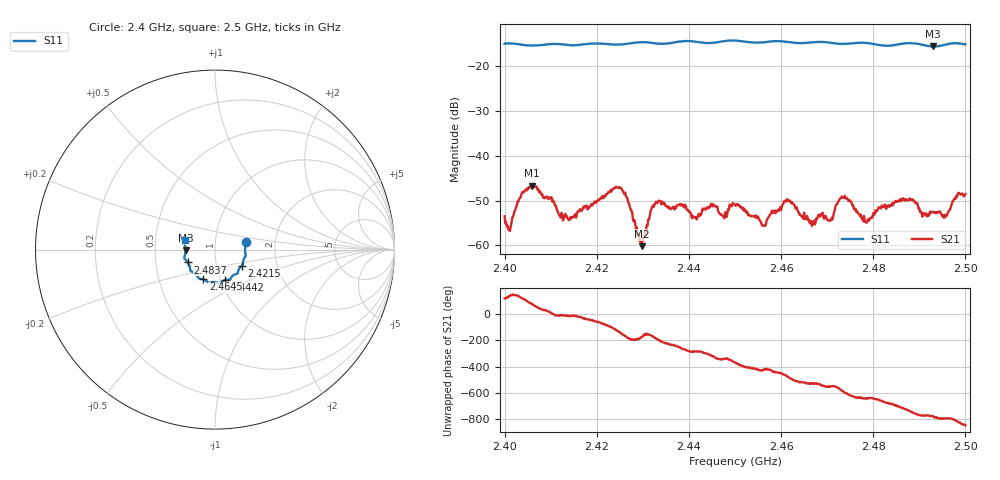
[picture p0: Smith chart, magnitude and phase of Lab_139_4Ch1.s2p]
# Hz S RI R 50
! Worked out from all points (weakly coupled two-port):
!   601 points, 2.4 GHz to 2.5 GHz, reference 50 ohm
!   highest |S21| = -46.70 dB at 2.406 GHz (marker M1); lowest = -60.2 dB at 2.4298 GHz (marker M2)
!   lowest |S11| = -15.7 dB at 2.493 GHz (marker M3), VSWR 1.39, Z = 35.9 - j0.217 ohm
!   |S11| at or under -10 dB: start of sweep to end of sweep
!   S12 and S22 are empty: the file has one direction only
!   S11 on the Smith chart (normalised r, x): 2.4 GHz: 1.41, +0.12; 2.4215 GHz: 1.33, -0.25; 2.4442 GHz: 1.05, -0.37; 2.4645 GHz: 0.83, -0.29; 2.4837 GHz: 0.73, -0.11; 2.5 GHz: 0.71, +0.07
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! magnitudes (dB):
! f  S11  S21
! 2.4 GHz  -15.1  -53.5
! 2.401 GHz  -15.0  -56.6
! 2.406 GHz  -15.5  -46.7
! 2.4123 GHz  -15.2  -52.7
! 2.4167 GHz  -15.3  -52.3
! 2.4215 GHz  -15.1  -49.4
! 2.4257 GHz  -15.2  -47.9
! 2.4298 GHz  -14.8  -60.2
! 2.4333 GHz  -15.1  -50.2
! 2.4442 GHz  -15.0  -51.5
! 2.45 GHz  -14.4  -50.9
! 2.4562 GHz  -14.8  -55.6
! 2.4612 GHz  -14.7  -50.3
! 2.4645 GHz  -15.0  -53.6
! 2.4667 GHz  -14.8  -55.6
! 2.4707 GHz  -14.9  -54.4
! 2.4733 GHz  -15.2  -49.3
! 2.4787 GHz  -15.0  -54.8
! 2.4833 GHz  -15.6  -51.0
! 2.4837 GHz  -15.5  -51.1
! 2.493 GHz  -15.7  -52.5
! 2.5 GHz  -15.3  -48.6
